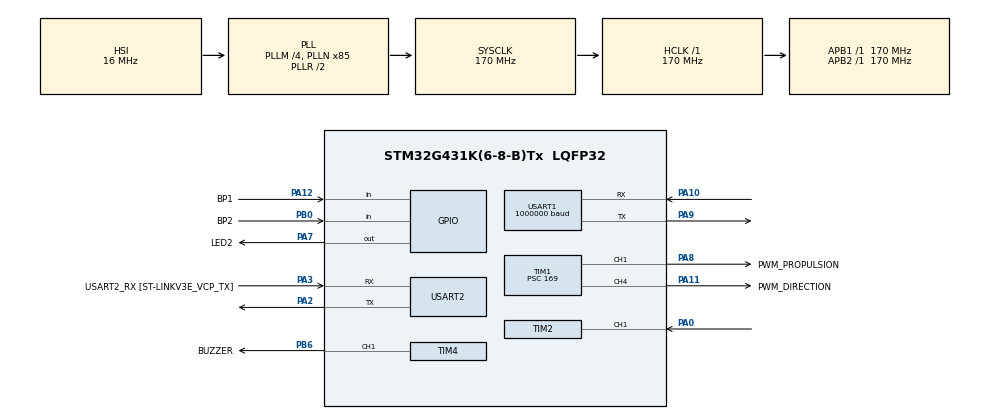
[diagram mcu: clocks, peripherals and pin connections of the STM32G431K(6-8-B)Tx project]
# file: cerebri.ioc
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Mcu.Family=STM32G4
Mcu.Name=STM32G431K(6-8-B)Tx
Mcu.Package=LQFP32
NVIC.PriorityGroup=NVIC_PRIORITYGROUP_4
NVIC.TIM2_IRQn=true\:1\:0\:true\:false\:true\:true\:true\:true
NVIC.TIM6_DAC_IRQn=true\:2\:0\:true\:false\:true\:true\:true\:true
NVIC.TIM7_IRQn=true\:0\:0\:false\:false\:true\:true\:true\:true
NVIC.USART2_IRQn=true\:0\:0\:false\:false\:true\:true\:true\:true
PA0.Signal=S_TIM2_CH1
PA10.Mode=Asynchronous
PA10.Signal=USART1_RX
PA11.GPIO_Label=PWM_DIRECTION
PA11.Signal=S_TIM1_CH4
PA12.GPIO_Label=BP1
PA12.Signal=GPIO_Input
PA13.GPIO_Label=T_SWDIO
PA13.Mode=Serial_Wire
PA13.Signal=SYS_JTMS-SWDIO
PA14.GPIO_Label=T_SWCLK
PA14.Mode=Serial_Wire
PA14.Signal=SYS_JTCK-SWCLK
PA2.Mode=Asynchronous
PA2.Signal=USART2_TX
PA3.GPIO_Label=USART2_RX [ST-LINKV3E_VCP_TX]
PA3.Mode=Asynchronous
PA3.Signal=USART2_RX
PA7.GPIO_Label=LED2
PA7.Signal=GPIO_Output
PA8.GPIO_Label=PWM_PROPULSION
PA8.Signal=S_TIM1_CH1
PA9.Mode=Asynchronous
PA9.Signal=USART1_TX
PB0.GPIO_Label=BP2
PB0.Signal=GPIO_Input
PB6.GPIO_Label=BUZZER
PB6.Signal=S_TIM4_CH1
ProjectManager.HeapSize=0x200
ProjectManager.StackSize=0x400
ProjectManager.TargetToolchain=STM32CubeIDE
RCC.ADC12Freq_Value=170000000
RCC.AHBFreq_Value=170000000
RCC.APB1Freq_Value=170000000
RCC.APB1TimFreq_Value=170000000
RCC.APB2Freq_Value=170000000
RCC.APB2TimFreq_Value=170000000
RCC.CortexFreq_Value=170000000
RCC.EXTERNAL_CLOCK_VALUE=12288000
RCC.HCLKFreq_Value=170000000
RCC.HSE_VALUE=8000000
RCC.HSI48_VALUE=48000000
RCC.HSI_VALUE=16000000
RCC.LSE_VALUE=32768
RCC.PLLM=RCC_PLLM_DIV4
RCC.PLLN=85
RCC.SYSCLKFreq_VALUE=170000000
RCC.SYSCLKSource=RCC_SYSCLKSOURCE_PLLCLK
RCC.USBFreq_Value=170000000
RCC.VCOOutputFreq_Value=340000000
SH.S_TIM1_CH1.0=TIM1_CH1,PWM Generation1 CH1
SH.S_TIM1_CH4.0=TIM1_CH4,PWM Generation4 CH4
SH.S_TIM2_CH1.0=TIM2_CH1,Input_Capture1_from_TI1
SH.S_TIM4_CH1.0=TIM4_CH1,PWM Generation1 CH1
TIM1.Channel-PWM\ Generation1\ CH1=TIM_CHANNEL_1
TIM1.Channel-PWM\ Generation4\ CH4=TIM_CHANNEL_4
TIM1.PeriodNoDither=20000
TIM1.Prescaler=169
TIM1.PulseNoDither_1=1500
TIM1.PulseNoDither_4=1500
TIM2.Channel-Input_Capture1_from_TI1=TIM_CHANNEL_1
TIM2.ICPolarity_CH1=TIM_INPUTCHANNELPOLARITY_FALLING
TIM2.Prescaler=169
TIM4.Channel-PWM\ Generation1\ CH1=TIM_CHANNEL_1
TIM4.Prescaler=169
TIM6.PeriodNoDither=20000
TIM6.Prescaler=169
TIM7.Prescaler=63999
USART1.BaudRate=1000000
USART1.VirtualMode-Asynchronous=VM_ASYNC
USART2.VirtualMode-Asynchronous=VM_ASYNC
VP_SYS_VS_DBSignals.Mode=DisableDeadBatterySignals
VP_TIM1_VS_ClockSourceINT.Mode=Internal
VP_TIM2_VS_ClockSourceINT.Mode=Internal
VP_TIM6_VS_ClockSourceINT.Mode=Enable_Timer
VP_TIM7_VS_ClockSourceINT.Mode=Enable_Timer
board=NUCLEO-G431KB

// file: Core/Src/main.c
/* USER CODE BEGIN Header */
/**
  ******************************************************************************
  * @file           : main.c
  * @brief          : Main program body
  ******************************************************************************
  * @attention
  *
  * Copyright (c) 2024 STMicroelectronics.
  * All rights reserved.
  *
  * This software is licensed under terms that can be found in the LICENSE file
  * in the root directory of this software component.
  * If no LICENSE file comes with this software, it is provided AS-IS.
  *
  ******************************************************************************
  */
/* USER CODE END Header */
#include "main.h"
#include "tim.h"
#include "usart.h"
#include "gpio.h"

/* USER CODE BEGIN Includes */
#include "sounds.h"
#include "pid.h"
#include <string.h>
#include <stdio.h>
#include <string.h>
#include <stdlib.h>
/* USER CODE END Includes */

/* USER CODE BEGIN PD */
#define BP_PRESSED 0
#define BP_RELEASED 1

/* USER CODE END PD */

/* USER CODE BEGIN PV */
uint32_t counter = 0;
/* USER CODE END PV */

void SystemClock_Config(void);

/* USER CODE BEGIN 0 */
int error_code;
/* USER CODE END 0 */

int main(void)
{

  /* MCU Configuration--------------------------------------------------------*/

  /* Reset of all peripherals, Initializes the Flash interface and the Systick. */
  HAL_Init();

  /* Configure the system clock */
  SystemClock_Config();

  /* Initialize all configured peripherals */
  MX_GPIO_Init();
  MX_TIM1_Init();
  MX_TIM2_Init();
  MX_TIM4_Init();
  MX_USART1_UART_Init();
  MX_TIM6_Init();
  MX_USART2_UART_Init();
  MX_TIM7_Init();
  /* USER CODE BEGIN 2 */
  	HAL_TIM_Base_Start_IT(&htim2);
	HAL_TIM_IC_Start_IT(&htim2, TIM_CHANNEL_1);
	HAL_TIM_PWM_Start(&htim1, TIM_CHANNEL_1);
	HAL_TIM_PWM_Start(&htim1, TIM_CHANNEL_4);
	HAL_TIM_Base_Start_IT(&htim6);

	init_serial();

  /* USER CODE END 2 */

  /* Infinite loop */
  /* USER CODE BEGIN WHILE */
	while (1)
	{
		uint32_t bp1 = HAL_GPIO_ReadPin(BP1_GPIO_Port, BP1_Pin);
		uint32_t bp2 = HAL_GPIO_ReadPin(BP2_GPIO_Port, BP2_Pin);

		if (bp1 == BP_PRESSED)
		{
			buzzer_play(NOTE_DO3);

			uint8_t reset[] = "s04000d000";
			processMessage(reset);
			uint8_t message[] = "s05500d000";
			processMessage(message);
		} else if (bp1 == BP_RELEASED)
		{
			buzzer_stop();
		}

		if (bp2 == BP_PRESSED)
		{
			uint8_t reset[] = "s04000d000";
			processMessage(reset);
			uint8_t message[] = "s01500d000";
			processMessage(message);
		}

    /* USER CODE END WHILE */

	}
}

void SystemClock_Config(void)
{
  RCC_OscInitTypeDef RCC_OscInitStruct = {0};
  RCC_ClkInitTypeDef RCC_ClkInitStruct = {0};

  /** Configure the main internal regulator output voltage
  */
  HAL_PWREx_ControlVoltageScaling(PWR_REGULATOR_VOLTAGE_SCALE1_BOOST);

  /** Initializes the RCC Oscillators according to the specified parameters
  * in the RCC_OscInitTypeDef structure.
  */
  RCC_OscInitStruct.OscillatorType = RCC_OSCILLATORTYPE_HSI;
  RCC_OscInitStruct.HSIState = RCC_HSI_ON;
  RCC_OscInitStruct.HSICalibrationValue = RCC_HSICALIBRATION_DEFAULT;
  RCC_OscInitStruct.PLL.PLLState = RCC_PLL_ON;
  RCC_OscInitStruct.PLL.PLLSource = RCC_PLLSOURCE_HSI;
  RCC_OscInitStruct.PLL.PLLM = RCC_PLLM_DIV4;
  RCC_OscInitStruct.PLL.PLLN = 85;
  RCC_OscInitStruct.PLL.PLLP = RCC_PLLP_DIV2;
  RCC_OscInitStruct.PLL.PLLQ = RCC_PLLQ_DIV2;
  RCC_OscInitStruct.PLL.PLLR = RCC_PLLR_DIV2;
  if (HAL_RCC_OscConfig(&RCC_OscInitStruct) != HAL_OK)
  {
    Error_Handler();
  }

  /** Initializes the CPU, AHB and APB buses clocks
  */
  RCC_ClkInitStruct.ClockType = RCC_CLOCKTYPE_HCLK|RCC_CLOCKTYPE_SYSCLK
                              |RCC_CLOCKTYPE_PCLK1|RCC_CLOCKTYPE_PCLK2;
  RCC_ClkInitStruct.SYSCLKSource = RCC_SYSCLKSOURCE_PLLCLK;
  RCC_ClkInitStruct.AHBCLKDivider = RCC_SYSCLK_DIV1;
  RCC_ClkInitStruct.APB1CLKDivider = RCC_HCLK_DIV1;
  RCC_ClkInitStruct.APB2CLKDivider = RCC_HCLK_DIV1;

  if (HAL_RCC_ClockConfig(&RCC_ClkInitStruct, FLASH_LATENCY_4) != HAL_OK)
  {
    Error_Handler();
  }
}

void Error_Handler(void)
{
  __disable_irq();
  while (1)
  {
  }
}
